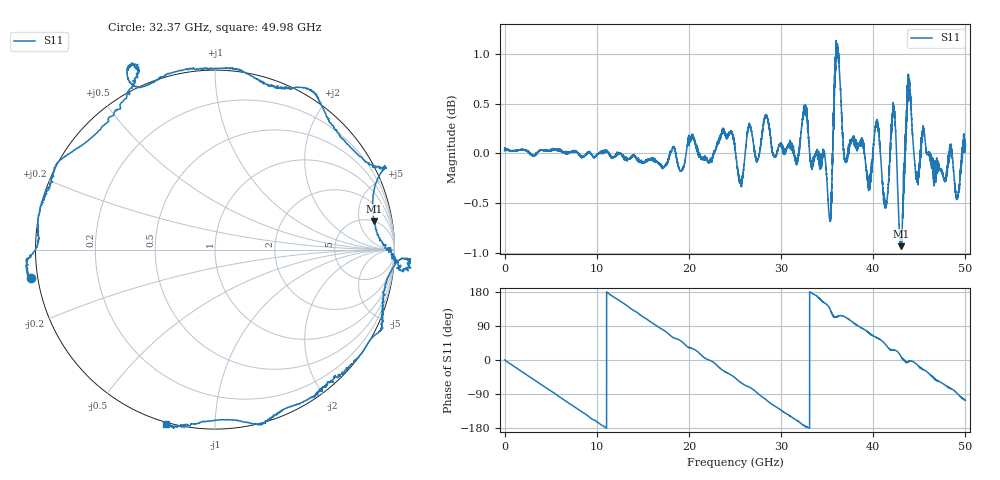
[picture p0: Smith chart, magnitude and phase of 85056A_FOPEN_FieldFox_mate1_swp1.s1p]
!Created with skrf (http://scikit-rf.org).
# Hz S RI R 50.0
!freq ReS11 ImS11
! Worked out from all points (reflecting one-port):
!   10001 points, 300 kHz to 50 GHz, reference 50 ohm
!   lowest |S11| = -0.9 dB at 42.99 GHz (marker M1), VSWR 18.61, Z = 252 + j412 ohm
!   phase of S11 starts at 0 deg and turns -826 deg over the sweep
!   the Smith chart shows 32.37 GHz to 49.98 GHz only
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300000  1.003 0.0011
1.73529e9  0.8828 -0.478
3.660278e9  0.5046 -0.8653
6.250262e9  -0.206 -0.981
9.410244e9  -0.904 -0.4262
1.250022e10  -0.9133 0.4075
1.572521e10  -0.2176 0.9687
1.875019e10  0.5637 0.8145
1.998518e10  0.8676 0.5381
2.177017e10  0.9915 0.0791
2.319516e10  0.965 -0.3107
2.500015e10  0.6863 -0.7358
2.652014e10  0.3331 -0.9801
2.825513e10  -0.2256 -1.018
3.125011e10  -0.8952 -0.4656
3.25851e10  -1.049 -0.1116
3.39651e10  -0.9667 0.2326
3.485509e10  -0.8404 0.5153
3.588508e10  -0.4333 1.007
3.750008e10  -0.26 0.9815
4.045006e10  0.552 0.8798
4.204505e10  0.9377 0.4627
4.299004e10  0.884 0.1578
4.375004e10  1.091 -0.1011
4.439503e10  0.9983 -0.0904
4.563503e10  0.898 -0.4693
4.692502e10  0.5735 -0.7943
5e10  -0.2839 -0.9668
